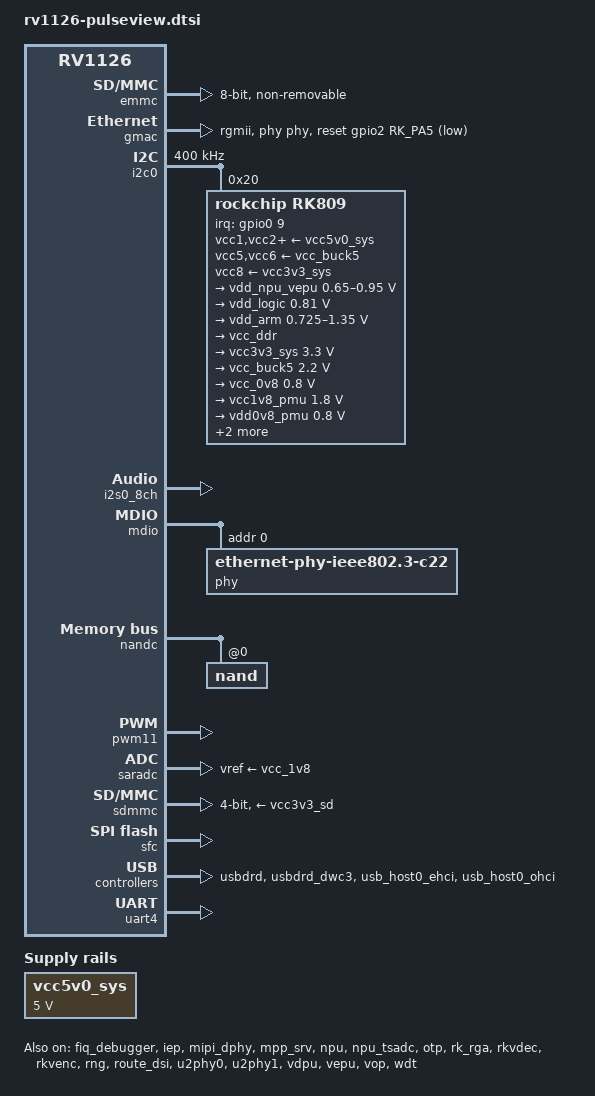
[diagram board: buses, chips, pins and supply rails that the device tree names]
// SPDX-License-Identifier: (GPL-2.0+ OR MIT)
/*
 * Copyright (c) 2019 Fuzhou Rockchip Electronics Co., Ltd.
 */

#include <dt-bindings/display/drm_mipi_dsi.h>
#include <dt-bindings/input/input.h>

/ {
	dummy_codec: dummy-codec {
		compatible = "rockchip,dummy-codec";
		#sound-dai-cells = <0>;
	};

	pdm_mic_array: pdm-mic_array {
		status = "disabled";
		compatible = "simple-audio-card";
		simple-audio-card,name = "rockchip,pdm-mic-array";
		simple-audio-card,cpu {
			sound-dai = <&pdm>;
		};
		simple-audio-card,codec {
			sound-dai = <&dummy_codec>;
		};
	};

	rk809_sound: rk809-sound {
		compatible = "simple-audio-card";
		simple-audio-card,format = "i2s";
		simple-audio-card,name = "rockchip,rk809-codec";
		simple-audio-card,mclk-fs = <256>;
		simple-audio-card,widgets =
			"Microphone", "Mic Jack",
			"Headphone", "Headphone Jack";
		simple-audio-card,routing =
			"Mic Jack", "MICBIAS1",
			"IN1P", "Mic Jack",
			"Headphone Jack", "HPOL",
			"Headphone Jack", "HPOR";
		simple-audio-card,cpu {
			sound-dai = <&i2s0_8ch>;
		};
		simple-audio-card,codec {
			sound-dai = <&rk809_codec>;
		};
	};

	vcc5v0_sys: vccsys {
		compatible = "regulator-fixed";
		regulator-name = "vcc5v0_sys";
		regulator-always-on;
		regulator-boot-on;
		regulator-min-microvolt = <5000000>;
		regulator-max-microvolt = <5000000>;
	};
};

&cpu0 {
	cpu-supply = <&vdd_arm>;
};

&cpu_tsadc {
	status = "okay";
};

&emmc {
	bus-width = <8>;
	cap-mmc-highspeed;
	non-removable;
	mmc-hs200-1_8v;
	rockchip,default-sample-phase = <90>;
	supports-emmc;
	/delete-property/ pinctrl-names;
	/delete-property/ pinctrl-0;
	status = "okay";
};

&fiq_debugger {
	status = "okay";
};

&gmac {
	phy-mode = "rgmii";
	clock_in_out = "input";

	snps,reset-gpio = <&gpio2 RK_PA5 GPIO_ACTIVE_LOW>;
	snps,reset-active-low;
	/* Reset time is 20ms, 100ms for rtl8211f */
	snps,reset-delays-us = <0 20000 100000>;

	assigned-clocks = <&cru CLK_GMAC_SRC>, <&cru CLK_GMAC_TX_RX>, <&cru CLK_GMAC_ETHERNET_OUT>;
	assigned-clock-parents = <&cru CLK_GMAC_SRC_M0>, <&cru RGMII_MODE_CLK>;
	assigned-clock-rates = <125000000>, <0>, <25000000>;

	pinctrl-names = "default";
	pinctrl-0 = <&rgmiim0_miim &rgmiim0_bus2 &rgmiim0_bus4 &clkm0_out_ethernet>;

	// tx_delay = <0x2a>;
	// rx_delay = <0x1a>;

	tx_delay = <0x3d>;
	rx_delay = <0x2e>;

	phy-handle = <&phy>;
	status = "okay";
};

&i2c0 {
	status = "okay";
	clock-frequency = <400000>;

	rk809: pmic@20 {
		compatible = "rockchip,rk809";
		reg = <0x20>;
		interrupt-parent = <&gpio0>;
		interrupts = <9 IRQ_TYPE_LEVEL_LOW>;
		pinctrl-names = "default", "pmic-sleep",
			"pmic-power-off", "pmic-reset";
		pinctrl-0 = <&pmic_int>;
		pinctrl-1 = <&soc_slppin_gpio>, <&rk817_slppin_slp>;
		pinctrl-2 = <&soc_slppin_gpio>, <&rk817_slppin_pwrdn>;
		pinctrl-3 = <&soc_slppin_slp>, <&rk817_slppin_rst>;
		rockchip,system-power-controller;
		wakeup-source;
		#clock-cells = <1>;
		clock-output-names = "rk808-clkout1", "rk808-clkout2";
		/* 0: rst the pmic, 1: rst regs (default in codes) */
		pmic-reset-func = <0>;

		vcc1-supply = <&vcc5v0_sys>;
		vcc2-supply = <&vcc5v0_sys>;
		vcc3-supply = <&vcc5v0_sys>;
		vcc4-supply = <&vcc5v0_sys>;
		vcc5-supply = <&vcc_buck5>;
		vcc6-supply = <&vcc_buck5>;
		vcc7-supply = <&vcc5v0_sys>;
		vcc8-supply = <&vcc3v3_sys>;
		vcc9-supply = <&vcc5v0_sys>;

		pwrkey {
			status = "okay";
		};

		pinctrl_rk8xx: pinctrl_rk8xx {
			gpio-controller;
			#gpio-cells = <2>;

			/omit-if-no-ref/
			rk817_slppin_null: rk817_slppin_null {
				pins = "gpio_slp";
				function = "pin_fun0";
			};

			/omit-if-no-ref/
			rk817_slppin_slp: rk817_slppin_slp {
				pins = "gpio_slp";
				function = "pin_fun1";
			};

			/omit-if-no-ref/
			rk817_slppin_pwrdn: rk817_slppin_pwrdn {
				pins = "gpio_slp";
				function = "pin_fun2";
			};

			/omit-if-no-ref/
			rk817_slppin_rst: rk817_slppin_rst {
				pins = "gpio_slp";
				function = "pin_fun3";
			};
		};

		regulators {
			vdd_npu_vepu: DCDC_REG1 {
				regulator-always-on;
				regulator-boot-on;
				regulator-min-microvolt = <650000>;
				regulator-max-microvolt = <950000>;
				regulator-ramp-delay = <6001>;
				regulator-initial-mode = <0x2>;
				regulator-name = "vdd_npu_vepu";
				regulator-state-mem {
					regulator-off-in-suspend;
				};
			};

			vdd_logic: vdd-logic {
				compatible = "regulator-fixed";
				regulator-name = "vdd_logic";
				regulator-always-on;
				regulator-boot-on;
				egulator-min-microvolt = <810000>;
				regulator-max-microvolt = <810000>;
			};

			vdd_arm: DCDC_REG2 {
				regulator-always-on;
				regulator-boot-on;
				regulator-min-microvolt = <725000>;
				regulator-max-microvolt = <1350000>;
				regulator-ramp-delay = <6001>;
				regulator-initial-mode = <0x2>;
				regulator-name = "vdd_arm";
				regulator-state-mem {
					regulator-off-in-suspend;
				};
			};

			vcc_ddr: DCDC_REG3 {
				regulator-always-on;
				regulator-boot-on;
				regulator-initial-mode = <0x2>;
				regulator-name = "vcc_ddr";
				regulator-state-mem {
					regulator-on-in-suspend;
				};
			};

			vcc3v3_sys: DCDC_REG4 {
				regulator-always-on;
				regulator-boot-on;
				regulator-min-microvolt = <3300000>;
				regulator-max-microvolt = <3300000>;
				regulator-initial-mode = <0x2>;
				regulator-name = "vcc3v3_sys";
				regulator-state-mem {
					regulator-on-in-suspend;
					regulator-suspend-microvolt = <3300000>;
				};
			};

			vcc_buck5: DCDC_REG5 {
				regulator-always-on;
				regulator-boot-on;
				regulator-min-microvolt = <2200000>;
				regulator-max-microvolt = <2200000>;
				regulator-name = "vcc_buck5";
				regulator-state-mem {
					regulator-on-in-suspend;
					regulator-suspend-microvolt = <2200000>;
				};
			};

			vcc_0v8: LDO_REG1 {
				regulator-always-on;
				regulator-boot-on;
				regulator-min-microvolt = <800000>;
				regulator-max-microvolt = <800000>;
				regulator-name = "vcc_0v8";
				regulator-state-mem {
					regulator-off-in-suspend;
				};
			};

			vcc1v8_pmu: LDO_REG2 {
				regulator-always-on;
				regulator-boot-on;
				regulator-min-microvolt = <1800000>;
				regulator-max-microvolt = <1800000>;
				regulator-name = "vcc1v8_pmu";
				regulator-state-mem {
					regulator-on-in-suspend;
					regulator-suspend-microvolt = <1800000>;
				};
			};

			vdd0v8_pmu: LDO_REG3 {
				regulator-always-on;
				regulator-boot-on;
				regulator-min-microvolt = <800000>;
				regulator-max-microvolt = <800000>;
				regulator-name = "vcc0v8_pmu";
				regulator-state-mem {
					regulator-on-in-suspend;
					regulator-suspend-microvolt = <800000>;
				};
			};

			vcc_1v8: LDO_REG4 {
				regulator-always-on;
				regulator-boot-on;
				regulator-min-microvolt = <1800000>;
				regulator-max-microvolt = <1800000>;
				regulator-name = "vcc_1v8";
				regulator-state-mem {
					regulator-on-in-suspend;
					regulator-suspend-microvolt = <1800000>;
				};
			};

			vcc_dovdd: LDO_REG5 {
				regulator-boot-on;
				regulator-min-microvolt = <1800000>;
				regulator-max-microvolt = <1800000>;
				regulator-name = "vcc_dovdd";
				regulator-state-mem {
					regulator-off-in-suspend;
				};
			};

			vcc_dvdd: LDO_REG6 {
				regulator-min-microvolt = <1200000>;
				regulator-max-microvolt = <1200000>;
				regulator-name = "vcc_dvdd";
				regulator-state-mem {
					regulator-off-in-suspend;
				};
			};

			vcc_avdd: LDO_REG7 {
				regulator-min-microvolt = <2800000>;
				regulator-max-microvolt = <2800000>;
				regulator-name = "vcc_avdd";
				regulator-state-mem {
					regulator-off-in-suspend;
				};
			};

			vccio_sd: LDO_REG8 {
				regulator-always-on;
				regulator-boot-on;
				regulator-min-microvolt = <1800000>;
				regulator-max-microvolt = <3300000>;
				regulator-name = "vccio_sd";
				regulator-state-mem {
					regulator-off-in-suspend;
				};
			};

			vcc3v3_sd: LDO_REG9 {
				regulator-always-on;
				regulator-boot-on;
				regulator-min-microvolt = <3300000>;
				regulator-max-microvolt = <3300000>;
				regulator-name = "vcc3v3_sd";
				regulator-state-mem {
					regulator-off-in-suspend;
				};
			};

			vcc5v0_host: SWITCH_REG1 {
				regulator-name = "vcc5v0_host";
			};

			vcc_3v3: SWITCH_REG2 {
				regulator-always-on;
				regulator-boot-on;
				regulator-name = "vcc_3v3";
			};
		};

		rk809_codec: codec {
			#sound-dai-cells = <0>;
			compatible = "rockchip,rk809-codec", "rockchip,rk817-codec";
			clocks = <&cru MCLK_I2S0_TX_OUT2IO>;
			clock-names = "mclk";
			pinctrl-names = "default";
			assigned-clocks = <&cru MCLK_I2S0_TX_OUT2IO>;
			assigned-clock-parents = <&cru MCLK_I2S0_TX>;
			pinctrl-0 = <&i2s0m0_mclk>;
			hp-volume = <20>;
			spk-volume = <3>;
		};
	};
};

&i2s0_8ch {
	status = "okay";
	#sound-dai-cells = <0>;
	rockchip,clk-trcm = <1>;
	rockchip,i2s-rx-route = <3 1 2 0>;
	pinctrl-names = "default";
	pinctrl-0 = <&i2s0m0_sclk_tx
		     &i2s0m0_lrck_tx
		     &i2s0m0_sdo0
		     &i2s0m0_sdo1_sdi3>;
};

&iep {
	status = "okay";
};

&iep_mmu {
	status = "okay";
};

&mdio {
	phy: phy@0 {
		compatible = "ethernet-phy-ieee802.3-c22";
		reg = <0x0>;
		clocks = <&cru CLK_GMAC_ETHERNET_OUT>;
	};
};

&mipi_dphy {
	status = "okay";
};

&mpp_srv {
	status = "okay";
};

&nandc {
	/delete-property/ pinctrl-names;
	/delete-property/ pinctrl-0;
	#address-cells = <1>;
	#size-cells = <0>;

	nand@0 {
		reg = <0>;
		nand-bus-width = <8>;
		nand-ecc-mode = "hw";
		nand-ecc-strength = <16>;
		nand-ecc-step-size = <1024>;
	};
};

&npu {
	npu-supply = <&vdd_npu_vepu>;
	status = "okay";
};

&npu_tsadc {
	status = "okay";
};

&optee {
	status = "disabled";
};

&otp {
	status = "okay";
};

&pdm {
	status = "disabled";
	#sound-dai-cells = <0>;
	pinctrl-names = "default";
	pinctrl-0 = <&pdmm0_clk
		     &pdmm0_clk1
		     &pdmm0_sdi0
		     &pdmm0_sdi1
		     &pdmm0_sdi2>;
};

&pinctrl {
	pmic {
		/omit-if-no-ref/
		pmic_int: pmic_int {
			rockchip,pins =
				<0 RK_PB1 RK_FUNC_GPIO &pcfg_pull_up>;
		};

		/omit-if-no-ref/
		soc_slppin_gpio: soc_slppin_gpio {
			rockchip,pins =
				<0 RK_PB2 RK_FUNC_GPIO &pcfg_output_low>;
		};

		/omit-if-no-ref/
		soc_slppin_slp: soc_slppin_slp {
			rockchip,pins =
				<0 RK_PB2 RK_FUNC_1 &pcfg_pull_none>;
		};

		/omit-if-no-ref/
		soc_slppin_rst: soc_slppin_rst {
			rockchip,pins =
				<0 RK_PB2 RK_FUNC_2 &pcfg_pull_none>;
		};
	};

	buttons {
        soft_rst: soft-rst {
            rockchip,pins = <2 RK_PB3 RK_FUNC_GPIO &pcfg_pull_up>;
        };
    };
};

&pmu_io_domains {
	status = "okay";

	pmuio0-supply = <&vcc3v3_sys>;
	pmuio1-supply = <&vcc3v3_sys>;
	vccio2-supply = <&vccio_sd>;
	vccio3-supply = <&vcc_1v8>;
	vccio4-supply = <&vcc_1v8>;
	vccio5-supply = <&vcc_3v3>;
	vccio6-supply = <&vcc_1v8>;
	vccio7-supply = <&vcc_1v8>;
};

// P_IRIS/ZOOM/FOCUS_BIN2
&pwm11 {
	status = "okay";
	pinctrl-names = "active";
	pinctrl-0 = <&pwm11m1_pins>;
};

&ramoops {
	status = "okay";
};

&rk_rga {
	status = "okay";
};

&rkvdec {
	status = "okay";
};

&rkvdec_mmu {
	status = "okay";
};

&rkvenc {
	venc-supply = <&vdd_npu_vepu>;
	status = "okay";
};

&rkvenc_opp_table {
	/*
	 * max IR-drop values on different freq condition for this board!
	 */
	rockchip,board-irdrop = <
	     /* MHz	MHz	uV */
		500	594	50000
	>;
};

&rkvenc_mmu {
	status = "okay";
};

&rng {
	status = "okay";
};

&rockchip_suspend {
	status = "okay";
	rockchip,sleep-debug-en = <1>;
	rockchip,sleep-mode-config = <
		(0
		| RKPM_SLP_ARMOFF
		| RKPM_SLP_PMU_PMUALIVE_32K
		| RKPM_SLP_PMU_DIS_OSC
		| RKPM_SLP_PMIC_LP
		)
	>;
	rockchip,wakeup-config = <
		(0
		| RKPM_GPIO_WKUP_EN
		)
	>;
};

&route_dsi {
	status = "okay";
};

&saradc {
	status = "okay";
	vref-supply = <&vcc_1v8>;
};

&sdmmc {
	max-frequency = <200000000>;
	bus-width = <4>;
	no-sdio;
	no-mmc;
	cap-mmc-highspeed;
	cap-sd-highspeed;
	card-detect-delay = <200>;
	rockchip,default-sample-phase = <90>;
	supports-sd;
	vqmmc-supply = <&vccio_sd>;
	vmmc-supply = <&vcc3v3_sd>;
	status = "okay";
};

&sfc {
	/delete-property/ pinctrl-names;
	/delete-property/ pinctrl-0;
	status = "okay";
};

&u2phy0 {
	status = "okay";
	u2phy_otg: otg-port {
		status = "okay";
	};
};

&usbdrd {
	status = "okay";
};

&usbdrd_dwc3 {
	status = "okay";
	extcon = <&u2phy0>;
};

&u2phy1 {
	status = "okay";
	// vup-gpios = <&gpio2 RK_PB2 GPIO_ACTIVE_LOW>;
	u2phy_host: host-port {
		status = "okay";
		// phy-supply = <&vcc5v0_host>;
		rockchip,vbus-always-on;
	};
};

&uart4 {
	// dma-names = "tx", "rx";
	pinctrl-names = "default";
	pinctrl-0 = <&uart4m1_xfer>;
	// pinctrl-0 = <&uart4m1_xfer &uart4m1_ctsn &uart4m1_rtsn>;
	status = "okay";
};

&usb_host0_ehci {
	status = "okay";
};

&usb_host0_ohci {
	status = "okay";
};

&vdpu {
	status = "okay";
};

&vepu {
	status = "okay";
};

&vpu_mmu {
	status = "okay";
};

&vop {
	status = "okay";
};

&vop_mmu {
	status = "okay";
};

&wdt {
	status = "okay";
};
